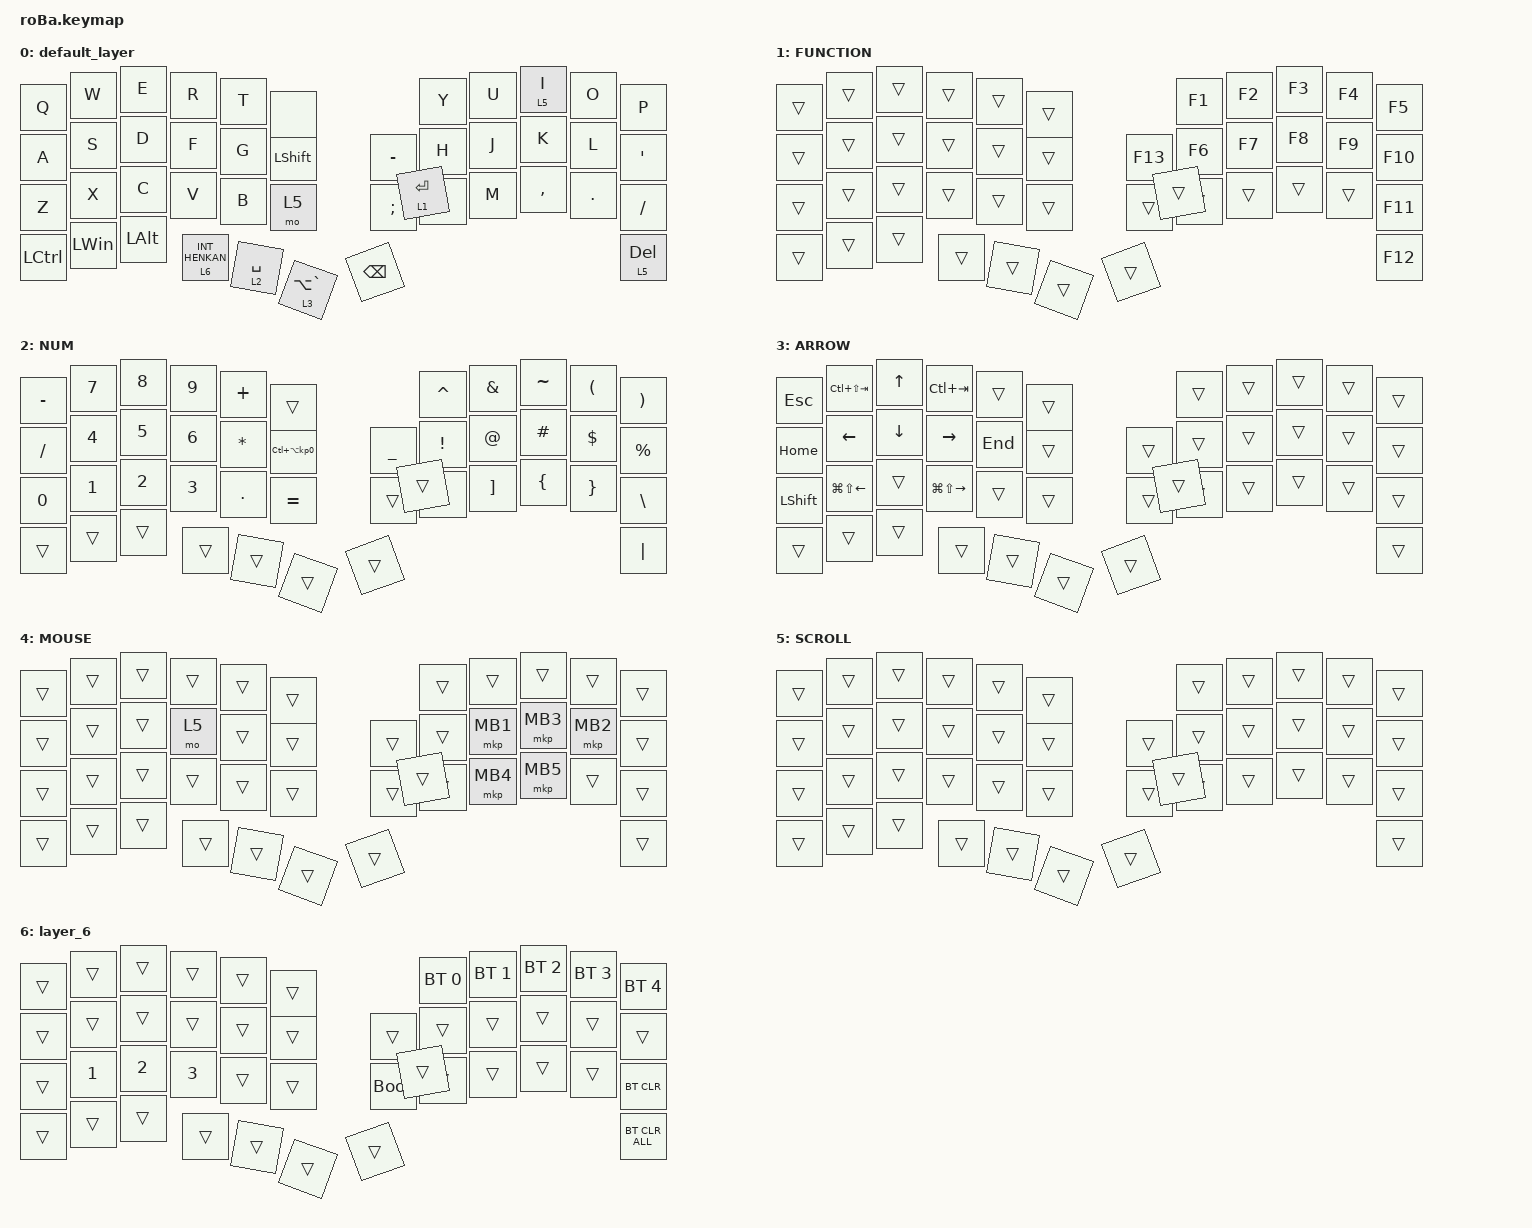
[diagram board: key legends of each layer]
#include <behaviors.dtsi>
#include <dt-bindings/zmk/bt.h>
#include <dt-bindings/zmk/keys.h>
#include <dt-bindings/zmk/pointing.h>

&mt {
    flavor = "balanced";
    quick-tap-ms = <0>;
};

&trackball {
    automouse-layer = <4>;
    scroll-layers = <5>;

    // arrows {
    //     layers = <3>;
    //     bindings =
    //         <&kp RIGHT_ARROW>,
    //         <&kp LEFT_ARROW>,
    //         <&kp UP_ARROW>,
    //         <&kp DOWN_ARROW>;
    //     tick = <10>;
    //     wait-ms = <5>;
    //     tap-ms = <5>;
    // };

    // While layer 6 is held (HENKAN thumb), rolling the ball left/right switches to the
    // previous/next GlazeWM workspace (Alt+A / Alt+S). Bindings: right, left, up, down.
    // tick: ball movement per switch, large so one roll doesn't skip several workspaces.
    workspaces {
        layers = <6>;
        bindings =
            <&kp LA(S)>,
            <&kp LA(A)>,
            <&none>,
            <&none>;
        tick = <100>;
    };
};

/ {
    combos {
        compatible = "zmk,combos";

        tab {
            bindings = <&kp TAB>;
            key-positions = <11 12>;
        };

        shift_tab {
            bindings = <&kp LS(TAB)>;
            key-positions = <12 13>;
        };

        muhennkann {
            bindings = <&to_layer_0 INT_MUHENKAN>;
            key-positions = <11 10>;
        };

        double_quotation {
            bindings = <&kp DOUBLE_QUOTES>;
            key-positions = <20 21>;
        };

        eq {
            bindings = <&kp EQUAL>;
            key-positions = <24 25>;
        };
    };

    macros {
        to_layer_0: to_layer_0 {
            compatible = "zmk,behavior-macro-one-param";
            #binding-cells = <1>;
            bindings = <&to 0 &macro_param_1to1 &kp MACRO_PLACEHOLDER>;
            label = "TO_LAYER_0";
        };
    };

    behaviors {
        lt_to_layer_0: lt_to_layer_0 {
            compatible = "zmk,behavior-hold-tap";
            label = "LAYER_TAP_TO_0";
            bindings = <&mo>, <&to_layer_0>;

            #binding-cells = <2>;
            tapping-term-ms = <200>;
        };
    };

    keymap {
        compatible = "zmk,keymap";

        default_layer {
            bindings = <
&kp Q             &kp W         &kp E         &kp R                        &kp T                                                          &kp Y        &kp U  &lt 5 I    &kp O    &kp P
&kp A             &kp S         &kp D         &kp F                        &kp G        &kp LEFT_SHIFT                     &kp MINUS     &kp H        &kp J  &kp K      &kp L    &kp SQT
&kp Z             &kp X         &kp C         &kp V                        &kp B        &mo 5                              &kp SEMICOLON  &kp N        &kp M  &kp COMMA  &kp DOT  &kp SLASH
&kp LCTRL         &kp LEFT_WIN  &kp LEFT_ALT  &lt_to_layer_0 6 INT_HENKAN  &lt 2 SPACE                 &lt_to_layer_0 3 LA(GRAVE)  &kp BACKSPACE  &lt 1 ENTER                             &lt 5 DEL
&none
            >;
        };

        FUNCTION {
            bindings = <
&trans  &trans  &trans  &trans  &trans                       &kp F1  &kp F2  &kp F3  &kp F4  &kp F5
&trans  &trans  &trans  &trans  &trans  &trans      &kp F13  &kp F6  &kp F7  &kp F8  &kp F9  &kp F10
&trans  &trans  &trans  &trans  &trans  &trans      &trans   &trans  &trans  &trans  &trans  &kp F11
&trans  &trans  &trans  &trans  &trans  &trans      &trans   &trans                          &kp F12
&trans
            >;
        };

        NUM {
            bindings = <
&kp MINUS                   &kp NUMBER_7     &kp NUMBER_8     &kp NUMBER_9     &kp PLUS                                                 &kp CARET         &kp AMPERSAND      &kp TILDE       &kp LEFT_PARENTHESIS  &kp RIGHT_PARENTHESIS
&kp SLASH                   &kp NUMBER_4     &kp NUMBER_5     &kp NUMBER_6     &kp ASTERISK  &kp LC(LA(KP_NUMBER_0))      &kp UNDERSCORE  &kp EXCLAMATION   &kp AT_SIGN        &kp HASH        &kp DOLLAR            &kp PERCENT
&kp NUMBER_0                &kp NUMBER_1     &kp NUMBER_2     &kp NUMBER_3     &kp PERIOD    &kp EQUAL                    &trans          &kp LEFT_BRACKET  &kp RIGHT_BRACKET  &kp LEFT_BRACE  &kp RIGHT_BRACE       &kp BACKSLASH
&trans                      &trans           &trans           &trans           &trans        &trans                       &trans          &trans                                                                     &kp PIPE
&trans
            >;
        };

        ARROW {
            bindings = <
&kp ESCAPE      &kp LC(LS(TAB))         &kp UP_ARROW    &kp LC(TAB)              &trans                       &trans  &trans  &trans  &trans  &trans
&kp HOME        &kp LEFT_ARROW          &kp DOWN_ARROW  &kp RIGHT_ARROW          &kp END  &trans      &trans  &trans  &trans  &trans  &trans  &trans
&kp LEFT_SHIFT  &kp LG(LS(LEFT_ARROW))  &trans          &kp LG(LS(RIGHT_ARROW))  &trans   &trans      &trans  &trans  &trans  &trans  &trans  &trans
&trans          &trans                  &trans          &trans                   &trans   &trans      &trans  &trans                          &trans
&trans
            >;
        };

        MOUSE {
            bindings = <
&trans  &trans  &trans  &trans  &trans                      &trans  &trans    &trans    &trans    &trans
&trans  &trans  &trans  &mo 5   &trans  &trans      &trans  &trans  &mkp MB1  &mkp MB3  &mkp MB2  &trans
&trans  &trans  &trans  &trans  &trans  &trans      &trans  &trans  &mkp MB4  &mkp MB5  &trans    &trans
&trans  &trans  &trans  &trans  &trans  &trans      &trans  &trans                                &trans
&trans
            >;
        };

        SCROLL {
            bindings = <
&trans  &trans  &trans  &trans  &trans                      &trans  &trans  &trans  &trans  &trans
&trans  &trans  &trans  &trans  &trans  &trans      &trans  &trans  &trans  &trans  &trans  &trans
&trans  &trans  &trans  &trans  &trans  &trans      &trans  &trans  &trans  &trans  &trans  &trans
&trans  &trans  &trans  &trans  &trans  &trans      &trans  &trans                          &trans
&trans
            >;
        };

        layer_6 {
            bindings = <
&trans  &trans        &trans        &trans        &trans                           &bt BT_SEL 0  &bt BT_SEL 1  &bt BT_SEL 2  &bt BT_SEL 3  &bt BT_SEL 4
&trans  &trans        &trans        &trans        &trans  &trans      &trans       &trans        &trans        &trans        &trans        &trans
&trans  &kp NUMBER_1  &kp NUMBER_2  &kp NUMBER_3  &trans  &trans      &bootloader  &trans        &trans        &trans        &trans        &bt BT_CLR
&trans  &trans        &trans        &trans        &trans  &trans      &trans       &trans                                                  &bt BT_CLR_ALL
&trans
            >;
        };
    };
};
